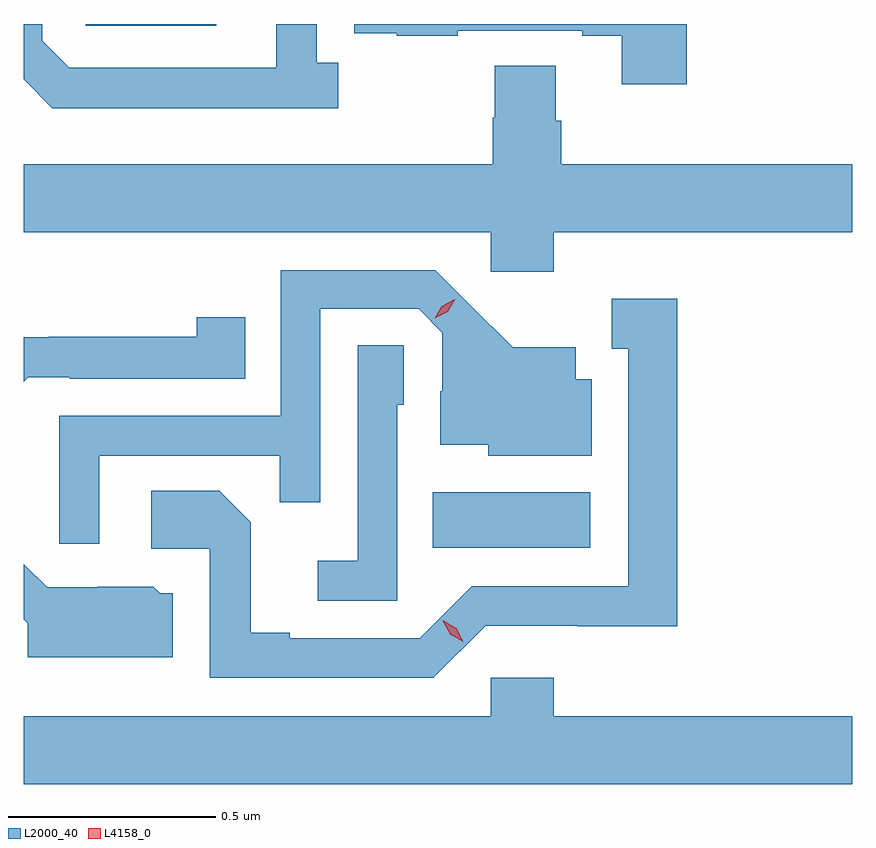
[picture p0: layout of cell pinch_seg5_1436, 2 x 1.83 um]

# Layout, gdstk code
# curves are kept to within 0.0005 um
import gdstk
lib = gdstk.Library(unit=1e-6, precision=1e-09)
def R(c, l, rs):  # rectangles x0, y0, x1, y1
    for r in rs: c.add(gdstk.rectangle(r[:2], r[2:], *l))
def P(c, l, *ps):  # polygons
    for p in ps: c.add(gdstk.Polygon(p, *l))
L2000_40 = (2000, 40)
L4158_0 = (4158, 0)

pinch_seg5_1436 = lib.new_cell('pinch_seg5_1436')
R(pinch_seg5_1436, L2000_40, [(156.46,894.626,156.841,894.76), (155.622,895.887,155.938,895.891)])
P(pinch_seg5_1436, L2000_40, [(156.232,895.798),(156.18,895.798),(156.18,895.891),(156.083,895.891),(156.083,895.785),(155.583,895.785),(155.517,895.851),(155.517,895.891),(155.473,895.891),(155.473,895.757),(155.542,895.688),(156.232,895.688)],
  [(157.073,895.891),(156.271,895.891),(156.271,895.869),(156.373,895.869),(156.373,895.863),(156.521,895.863),(156.521,895.875),(156.821,895.875),(156.821,895.863),(156.917,895.863),(156.917,895.746),(157.073,895.746)],
  [(156.752,895.388),(157.473,895.388),(157.473,895.552),(156.77,895.552),(156.77,895.658),(156.757,895.658),(156.757,895.79),(156.61,895.79),(156.61,895.665),(156.605,895.665),(156.605,895.552),(155.473,895.552),(155.473,895.388),(156.6,895.388),(156.6,895.293),(156.752,895.293)],
  [(155.655,894.849),(156.091,894.849),(156.091,894.736),(156.189,894.736),(156.189,895.203),(156.426,895.203),(156.483,895.146),(156.483,895.004),(156.479,895.004),(156.479,894.875),(156.594,894.875),(156.594,894.848),(156.844,894.848),(156.844,895.033),(156.805,895.033),(156.805,895.111),(156.653,895.111),(156.466,895.296),(156.093,895.296),(156.093,894.945),(155.559,894.945),(155.559,894.636),(155.655,894.636)],
  [(156.588,894.438),(156.81,894.438),(156.81,894.437),(157.051,894.437),(157.051,895.228),(156.893,895.228),(156.893,895.107),(156.932,895.107),(156.932,894.534),(156.555,894.534),(156.429,894.408),(156.115,894.408),(156.115,894.421),(156.021,894.421),(156.021,894.688),(155.945,894.764),(155.781,894.764),(155.781,894.624),(155.922,894.624),(155.922,894.312),(156.462,894.312)],
  [(155.484,895.038),(155.584,895.038),(155.584,895.035),(156.008,895.035),(156.008,895.183),(155.89,895.183),(155.89,895.136),(155.533,895.136),(155.533,895.135),(155.473,895.135),(155.473,895.027)],
  [(156.375,894.972),(156.39,894.972),(156.39,895.115),(156.279,895.115),(156.279,894.595),(156.183,894.595),(156.183,894.498),(156.375,894.498)],
  [(155.833,894.516),(155.802,894.516),(155.786,894.532),(155.652,894.532),(155.652,894.531),(155.529,894.531),(155.473,894.587),(155.473,894.454),(155.483,894.444),(155.483,894.362),(155.833,894.362)],
  [(157.473,894.22),(156.752,894.22),(156.752,894.313),(156.6,894.313),(156.6,894.22),(155.473,894.22),(155.473,894.056),(157.473,894.056)])
P(pinch_seg5_1436, L4158_0, [(156.465,895.181),(156.465,895.181),(156.482,895.21),(156.513,895.226),(156.513,895.226),(156.513,895.225),(156.496,895.196),(156.465,895.181)],
  [(156.534,894.399),(156.502,894.418),(156.485,894.45),(156.485,894.451),(156.485,894.451),(156.517,894.432),(156.534,894.399),(156.534,894.399)])

lib.write_gds('pinch_seg5_1436.gds')
